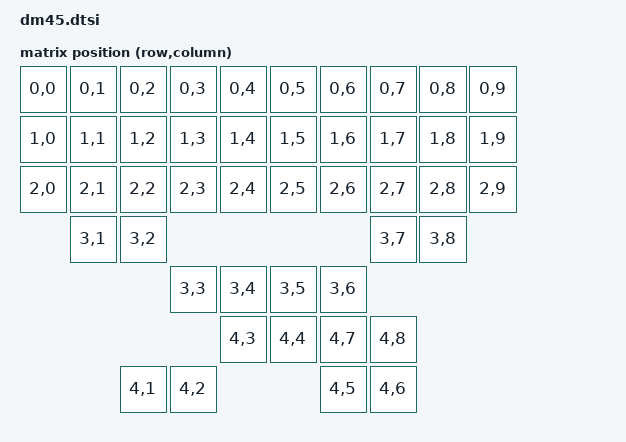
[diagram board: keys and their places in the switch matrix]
/*
 * Copyright (c) 2024 The ZMK Contributors
 *
 * SPDX-License-Identifier: MIT
 *
 * DM45 — 46-key split dactyl-manuform-style keyboard
 * Matrix: 5 rows x 5 cols per side, COL2ROW
 *
 * Left  peripheral: local rows 0-4  cols 0-4  → keymap cols 0-4
 * Right peripheral: local rows 0-4  cols 0-4  → keymap cols 5-9 (col-offset = 5)
 *
 * NOTE: kscan0 has NO `compatible` here — the peripheral overlays add it.
 *       This allows the dongle overlay to include this file, inherit the
 *       transform, and override only zmk,kscan (Solfe pattern).
 */

#include <dt-bindings/zmk/matrix_transform.h>

/ {
    chosen {
        zmk,kscan = &kscan0;
        zmk,matrix-transform = &default_transform;
    };

    /* ------------------------------------------------------------------ *
     *  Default transform — full-keyboard view (10 logical columns).       *
     *  The right overlay sets col-offset = <5> so its local cols 0-4      *
     *  map to logical cols 5-9.                                           *
     *                                                                    *
     *  Logical key positions:                                             *
     *                                                                     *
     *  RC(0,0) RC(0,1) RC(0,2) RC(0,3) RC(0,4)     top alpha (left)     *
     *  RC(0,5) RC(0,6) RC(0,7) RC(0,8) RC(0,9)     top alpha (right)    *
     *  RC(1,0) RC(1,1) RC(1,2) RC(1,3) RC(1,4)     home row  (left)     *
     *  RC(1,5) RC(1,6) RC(1,7) RC(1,8) RC(1,9)     home row  (right)    *
     *  RC(2,0) RC(2,1) RC(2,2) RC(2,3) RC(2,4)     bottom row (left)   *
     *  RC(2,5) RC(2,6) RC(2,7) RC(2,8) RC(2,9)     bottom row (right)  *
     *          RC(3,1) RC(3,2)                       inner col  (left)   *
     *                                  RC(3,7) RC(3,8) inner col  (right) *
     *                  RC(3,3) RC(3,4)               thumb top  (left)   *
     *                  RC(3,5) RC(3,6)               thumb top  (right)  *
     *                          RC(4,3) RC(4,4)       thumb bot  (left)   *
     *                          RC(4,7) RC(4,8)       thumb bot  (right)  *
     *                  RC(4,1) RC(4,2)               inner low  (left)   *
     *                  RC(4,5) RC(4,6)               inner low  (right)  *
     * ------------------------------------------------------------------ */
    default_transform: keymap_transform_0 {
        compatible = "zmk,matrix-transform";
        columns = <10>;
        rows = <5>;
        map = <
            RC(0,0) RC(0,1) RC(0,2) RC(0,3) RC(0,4)     RC(0,5) RC(0,6) RC(0,7) RC(0,8) RC(0,9)
            RC(1,0) RC(1,1) RC(1,2) RC(1,3) RC(1,4)     RC(1,5) RC(1,6) RC(1,7) RC(1,8) RC(1,9)
            RC(2,0) RC(2,1) RC(2,2) RC(2,3) RC(2,4)     RC(2,5) RC(2,6) RC(2,7) RC(2,8) RC(2,9)
                    RC(3,1) RC(3,2)                                         RC(3,7) RC(3,8)
                                    RC(3,3) RC(3,4)     RC(3,5) RC(3,6)
                                            RC(4,3) RC(4,4)     RC(4,7) RC(4,8)
                            RC(4,1) RC(4,2)                     RC(4,5) RC(4,6)
        >;
    };

    /* ------------------------------------------------------------------ *
     *  kscan0 skeleton — NO compatible here (Solfe pattern).              *
     *  Peripheral overlays add compatible + row-gpios + col-gpios.        *
     *  The dongle overlay overrides zmk,kscan with a mock kscan.          *
     * ------------------------------------------------------------------ */
    kscan0: kscan {
        diode-direction = "col2row";
        wakeup-source;
    };
};
